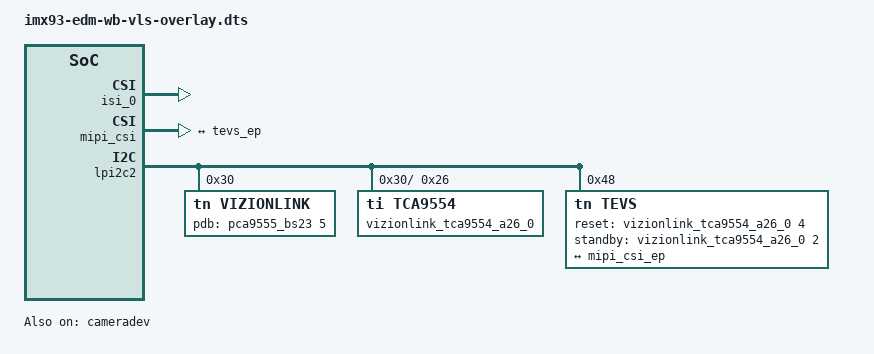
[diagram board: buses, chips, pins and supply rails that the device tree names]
// SPDX-License-Identifier: (GPL-2.0+ OR MIT)
/*
 * Copyright 2024 TechNexion Ltd.
 *
 * Author: Nian Yang <nian.yang@technexion.com>
 *
 */

/dts-v1/;
/plugin/;

#include <dt-bindings/interrupt-controller/irq.h>
#include <dt-bindings/clock/imx8mm-clock.h>
#include <dt-bindings/gpio/gpio.h>

/ {
	fragment@0 {
		target = <&cameradev>;
		__overlay__ {
			status = "okay";
		};
	};

	fragment@1 {
		target = <&isi_0>;
		__overlay__ {
			status = "okay";

			cap_device {
				status = "okay";
			};
		};
	};

	fragment@2 {
		target = <&mipi_csi>;
		__overlay__ {
			#address-cells = <1>;
			#size-cells = <0>;
			status = "okay";

			port@0 {
				reg = <0>;
				mipi_csi_ep: endpoint {
					remote-endpoint = <&tevs_ep>;
					data-lanes = <2>;
					cfg-clk-range = <28>;
					hs-clk-range = <0x1a>;
					bus-type = <4>;
				};
			};
		};
	};

	fragment@3 {
		target = <&lpi2c2>;
		__overlay__ {
			#address-cells = <1>;
			#size-cells = <0>;
			status = "okay";

			vizionlink: vizionlink@30 {
				compatible = "tn,vizionlink";
				reg = <0x30>;
				pdb-gpios = <&pca9555_bs23 5 GPIO_ACTIVE_HIGH>;
				ser_alias_id = <0x1b>;

				//i2c addr alias map "gpio extender, eeprom , sensor"
				i2c_addr_alias_map_local = <0x26 0x48>;
				i2c_addr_alias_map_remote = <0x25 0x48>;

				//deserializer output csi lanes 1~4. default 4
				des_csi_lanes = <2>;

				//1: Enable 0: Disable continuous clock. default 0
				des_csi_continuous_clock = <0>;

				//serializer input csi lanes 1~4. default 4
				ser_csi_lanes = <2>;

				//1: Enable 0: Disable continuous clock. default 0
				ser_csi_continuous_clock = <0>;

				status = "okay";

				i2c_dev_list {
					#address-cells = <1>;
					#size-cells = <0>;

					vizionlink_tca9554_a26_0: vizionlink_tca9554@26 {
						compatible = "ti,tca9554";
						reg = <0x26>;
						gpio-controller;
						#gpio-cells = <2>;
						status = "okay";
					};
				};
			};

			tevs: tevs@48 {
				compatible = "tn,tevs";
				reg = <0x48>;

				reset-gpios = <&vizionlink_tca9554_a26_0 4 GPIO_ACTIVE_HIGH>;
				standby-gpios = <&vizionlink_tca9554_a26_0 2 GPIO_ACTIVE_HIGH>;
				data-lanes = <2>;
				data-frequency = <800>;
				continuous-clock = <0>;
				status = "okay";

				port {
					tevs_ep: endpoint {
						remote-endpoint = <&mipi_csi_ep>;
					};
				};
			};
		};
	};
};
